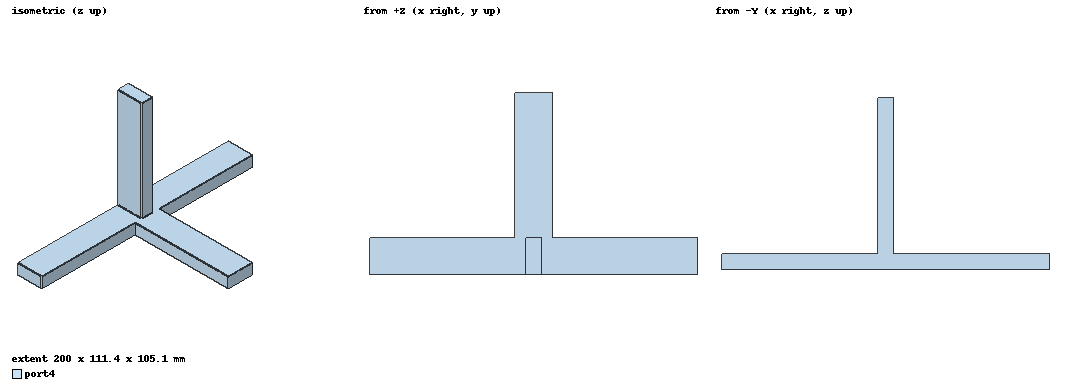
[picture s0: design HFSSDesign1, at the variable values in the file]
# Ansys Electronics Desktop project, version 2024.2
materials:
  vacuum: permittivity=1

design HFSSDesign1 (HFSS, HFSS Terminal Network, model units mm)
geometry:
  port4 [vacuum] = box(corner=(-11.43mm, 0mm, -5.08mm), size=(22.86mm, 100mm, 10.16mm))
  port2 = port4.duplicate_around_axis(axis=Z, angle=90deg, total=2)
  port1 = port4.duplicate_around_axis(axis=Z, angle=-90deg, total=2)
  port3 = port4.duplicate_around_axis(axis=X, angle=90deg, total=2)
  port3.rotate(axis=Z, angle=90deg)
  port4.unite(port2, port1, port3)
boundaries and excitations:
  PerfE1: Perfect E Faces=port4.face(+z, at (0, -11.43, 47.46), +x, at (55.715, 11.43, 0), at (-55.715, 11.43, 0), at (5.08, 0, 52.54), at (0, 11.43, 52.54), -x, at (-5.08, 0, 52.54), -z)
  1: Wave Port Faces=port4.face(+y) WavePortType=Modal NumModes=1 Modes{Mode1{IntLine{(0, 100, -5.08) -> (0mm, 100000mm, 5000mm)} CharImp=Zpi}}
  2: Wave Port Faces=port4.face(at (100, 0, 0)) WavePortType=Modal NumModes=1 Modes{Mode1{IntLine{(100, 0, -5.08) -> (100, 0, 5.08)} CharImp=Zpi}}
  3: Wave Port Faces=port4.face(at (-100, 0, 0)) WavePortType=Modal NumModes=1 Modes{Mode1{IntLine{(-100, 0, -5.08) -> (-100, 0, 5.08)} CharImp=Zpi}}
  4: Wave Port Faces=port4.face(at (0, 0, 100)) WavePortType=Modal NumModes=1 Modes{Mode1{IntLine{(-5.08, 0, 100) -> (5.08, 0, 100)} CharImp=Zpi}}
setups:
  Setup1: HfssDriven Frequency=10GHz MaxDeltaS=0.02 MaximumPasses=6 MinimumPasses=1 MinimumConvergedPasses=1 PercentRefinement=30 BasisOrder=1 PortAccuracy=2 DrivenSolverType="Direct Solver"
    sweep Sweep: 6GHz to 15GHz step 0.1GHz; Type=Interpolating InterpTolerance=0.5 InterpMaxSolns=250 PassivityErrorTolerance=0.0001
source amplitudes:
  1:1: 1V 0deg
  2:1, 3:1, 4:1: 0V 0deg
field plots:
  Vector_E1, Mag_E1: E Field in port4 on Setup1 : LastAdaptive at Freq=10GHz Phase=0deg
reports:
  S Parameter Plot 1: dB(S(1,1)), dB(S(2,1)), dB(S(1,2)), dB(S(2,2)) vs Freq on Setup1 : Sweep
